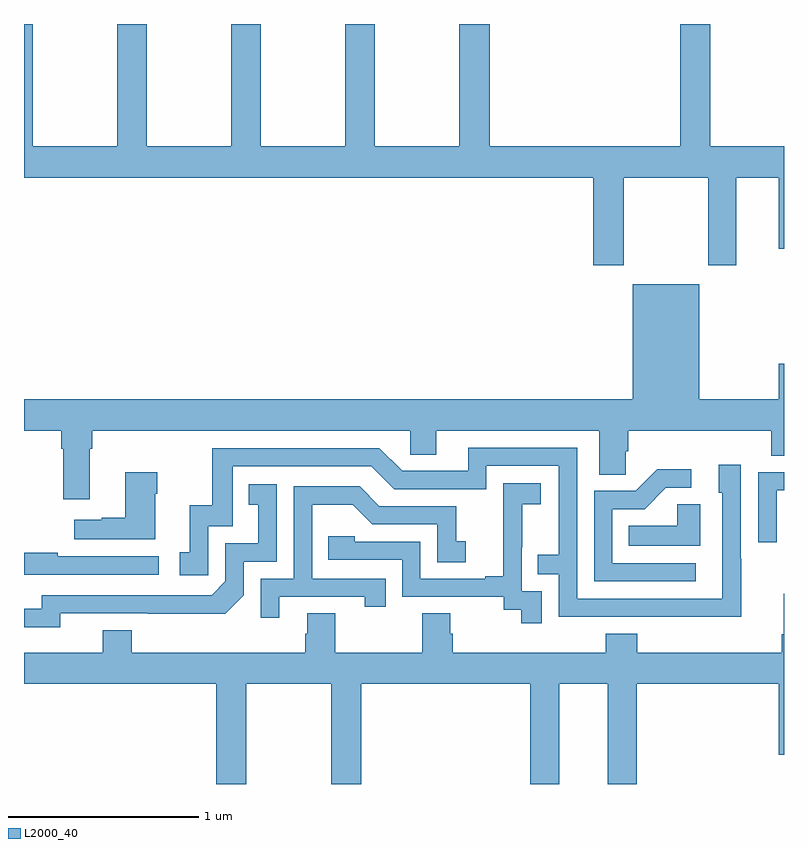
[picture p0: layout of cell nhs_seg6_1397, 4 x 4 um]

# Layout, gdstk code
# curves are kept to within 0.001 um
import gdstk
lib = gdstk.Library(unit=1e-6, precision=1e-09)
def P(c, l, *ps):  # polygons
    for p in ps: c.add(gdstk.Polygon(p, *l))
L2000_40 = (2000, 40)

nhs_seg6_1397 = lib.new_cell('nhs_seg6_1397')
P(nhs_seg6_1397, L2000_40, [(200.157,924.692),(200.602,924.692),(200.602,924.231),(200.749,924.231),(200.749,924.692),(200.972,924.692),(200.972,924.318),(201,924.318),(201,924.856),(200.613,924.856),(200.613,925.5),(200.453,925.5),(200.453,924.856),(199.451,924.856),(199.451,925.5),(199.291,925.5),(199.291,924.856),(198.846,924.856),(198.846,925.5),(198.691,925.5),(198.691,924.856),(198.246,924.856),(198.246,925.5),(198.091,925.5),(198.091,924.856),(197.646,924.856),(197.646,925.5),(197.491,925.5),(197.491,924.856),(197.046,924.856),(197.046,925.5),(197,925.5),(197,924.692),(199.997,924.692),(199.997,924.231),(200.157,924.231)],
  [(197.347,923.264),(197.36,923.264),(197.36,923.36),(199.032,923.36),(199.032,923.233),(199.171,923.233),(199.171,923.36),(200.027,923.36),(200.027,923.128),(200.166,923.128),(200.166,923.251),(200.18,923.251),(200.18,923.36),(200.933,923.36),(200.933,923.227),(201,923.227),(201,923.713),(200.972,923.713),(200.972,923.524),(200.554,923.524),(200.554,924.13),(200.204,924.13),(200.204,923.524),(197,923.524),(197,923.36),(197.195,923.36),(197.195,923.264),(197.207,923.264),(197.207,922.998),(197.347,922.998)],
  [(200.775,922.685),(200.772,922.685),(200.772,923.179),(200.657,923.179),(200.657,923.034),(200.676,923.034),(200.676,922.476),(199.911,922.476),(199.911,923.271),(199.337,923.271),(199.337,923.148),(198.99,923.148),(198.87,923.268),(197.991,923.268),(197.991,922.966),(197.873,922.966),(197.873,922.719),(197.82,922.719),(197.82,922.599),(197.97,922.599),(197.97,922.857),(198.099,922.857),(198.099,923.172),(198.828,923.172),(198.948,923.052),(199.434,923.052),(199.434,923.175),(199.815,923.175),(199.815,922.706),(199.705,922.706),(199.705,922.605),(199.815,922.605),(199.815,922.38),(200.775,922.379)],
  [(200.536,922.662),(200.097,922.662),(200.097,922.947),(200.266,922.947),(200.377,923.058),(200.512,923.058),(200.512,923.156),(200.333,923.156),(200.22,923.043),(200.001,923.043),(200.001,922.566),(200.536,922.566)],
  [(200.961,923.046),(201,923.046),(201,923.142),(200.865,923.142),(200.865,922.773),(200.961,922.773)],
  [(197.692,923.027),(197.7,923.027),(197.7,923.14),(197.534,923.14),(197.534,922.901),(197.408,922.901),(197.408,922.891),(197.265,922.891),(197.265,922.787),(197.692,922.787)],
  [(199.725,922.515),(199.62,922.515),(199.62,922.745),(199.622,922.745),(199.622,922.973),(199.72,922.973),(199.72,923.083),(199.522,923.083),(199.522,922.877),(199.523,922.877),(199.523,922.594),(199.427,922.594),(199.427,922.581),(199.086,922.581),(199.086,922.776),(198.741,922.776),(198.741,922.803),(198.601,922.803),(198.601,922.68),(198.99,922.68),(198.99,922.485),(199.524,922.485),(199.524,922.417),(199.617,922.417),(199.617,922.347),(199.725,922.347)],
  [(197.19,922.398),(198.058,922.397),(198.156,922.494),(198.156,922.671),(198.33,922.671),(198.33,923.077),(198.184,923.077),(198.184,922.971),(198.233,922.971),(198.233,922.767),(198.06,922.767),(198.06,922.566),(197.988,922.494),(197.094,922.494),(197.094,922.422),(197,922.422),(197,922.325),(197.19,922.325)],
  [(198.343,922.485),(198.794,922.485),(198.794,922.434),(198.905,922.434),(198.905,922.581),(198.516,922.581),(198.516,922.97),(198.73,922.97),(198.834,922.866),(199.176,922.866),(199.176,922.668),(199.324,922.668),(199.324,922.777),(199.275,922.777),(199.275,922.962),(198.871,922.962),(198.766,923.067),(198.42,923.067),(198.42,922.581),(198.246,922.581),(198.246,922.374),(198.343,922.374)],
  [(200.56,922.973),(200.439,922.973),(200.439,922.858),(200.182,922.858),(200.182,922.754),(200.56,922.754)],
  [(197.71,922.698),(197.177,922.698),(197.177,922.718),(197,922.718),(197,922.602),(197.71,922.602)],
  [(198.171,922.028),(198.616,922.028),(198.616,921.5),(198.776,921.5),(198.776,922.028),(199.664,922.028),(199.664,921.5),(199.816,921.5),(199.816,922.028),(200.072,922.028),(200.072,921.5),(200.225,921.5),(200.225,922.028),(200.972,922.028),(200.972,921.654),(201,921.654),(201,922.501),(200.999,922.501),(200.999,922.288),(200.987,922.288),(200.987,922.192),(200.228,922.192),(200.228,922.291),(200.063,922.291),(200.063,922.192),(199.256,922.192),(199.256,922.29),(199.243,922.29),(199.243,922.4),(199.096,922.4),(199.096,922.192),(198.639,922.192),(198.639,922.4),(198.491,922.4),(198.491,922.29),(198.479,922.29),(198.479,922.192),(197.567,922.192),(197.567,922.309),(197.414,922.309),(197.414,922.192),(197,922.192),(197,922.028),(198.011,922.028),(198.011,921.5),(198.171,921.5)])

lib.write_gds('nhs_seg6_1397.gds')
